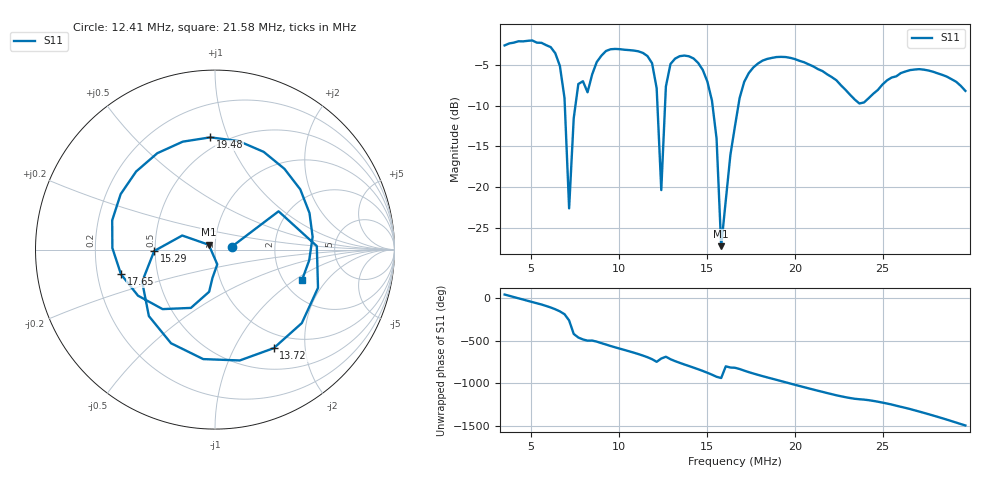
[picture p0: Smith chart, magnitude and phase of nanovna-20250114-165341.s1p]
# Hz S RI R 50
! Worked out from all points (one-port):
!   101 points, 3.5 MHz to 29.7 MHz, reference 50 ohm
!   lowest |S11| = -27.2 dB at 15.81 MHz (marker M1), VSWR 1.09, Z = 46.6 + j2.5 ohm
!   |S11| at or under -10 dB: 6.924 MHz to 7.527 MHz (603 kHz wide, 8.34 % of centre); 12.19 MHz to 12.62 MHz (431.3 kHz wide, 3.48 % of centre); 15.32 MHz to 16.79 MHz (1.467 MHz wide, 9.14 % of centre)
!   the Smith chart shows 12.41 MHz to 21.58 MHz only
!   S11 on the Smith chart (normalised r, x): 12.41 MHz: 1.21, +0.04; 13.72 MHz: 0.78, -1.46; 15.29 MHz: 0.49, -0.01; 17.65 MHz: 0.30, -0.12; 19.48 MHz: 0.42, +0.87; 21.58 MHz: 2.49, -1.16
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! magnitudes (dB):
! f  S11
! 3.5 MHz  -2.6
! 6.12 MHz  -2.9
! 6.644 MHz  -5.2
! 6.906 MHz  -9.1
! 7.168 MHz  -22.6
! 7.43 MHz  -11.5
! 7.692 MHz  -7.4
! 8.216 MHz  -8.4
! 9.002 MHz  -3.9
! 10.05 MHz  -3.1
! 11.88 MHz  -4.8
! 12.15 MHz  -7.9
! 12.41 MHz  -20.3
! 12.67 MHz  -7.7
! 13.46 MHz  -4.0
! 13.72 MHz  -3.9
! 14.77 MHz  -5.6
! 15.29 MHz  -9.4
! 15.55 MHz  -14.0
! 15.81 MHz  -27.2
! 16.6 MHz  -12.5
! 17.65 MHz  -5.3
! 19.48 MHz  -4.1
! 20.01 MHz  -4.3
! 21.58 MHz  -5.8
! 23.15 MHz  -8.7
! 26.56 MHz  -5.7
! 29.7 MHz  -8.2
